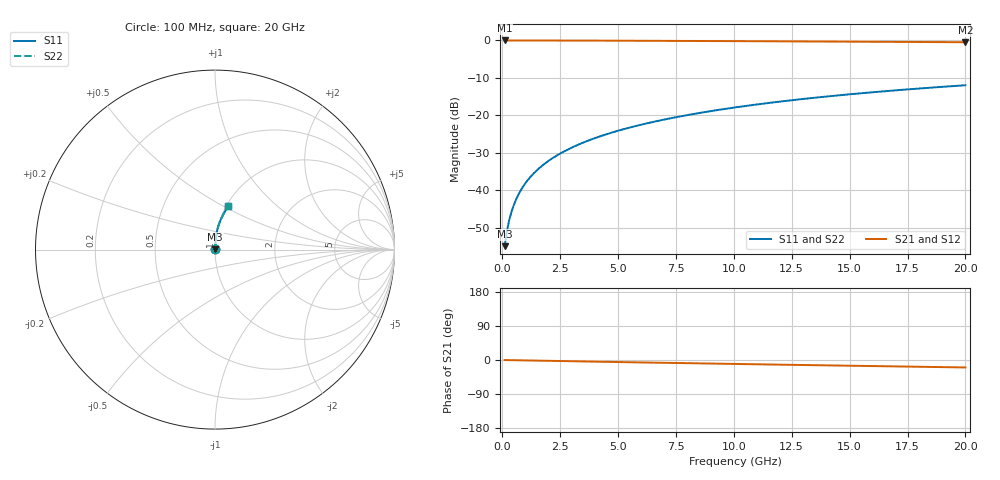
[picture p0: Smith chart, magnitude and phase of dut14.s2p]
! Touchstone file exported from HFSS 2024.1.0
!  File:  C:/UserFiles/LocalFiles/RDL_TSV_Batchsim/temp_RDL_top_14_1778679955.aedt
!  Generated:  09:48:09 PM May 13, 2026
!  Design:  RDL_top
!  Project:  temp_RDL_top_14_1778679955
!  Setup:  Setup1
!  Solution:  Sweep
! Variables:
!  dtsv = 10.80580581um
!  hbump = 3um
!  htsv = 50.58um
!  ldown = 100um
!  lrdl = 211.59um
!  p = 40
!  p1 = 57.17um
!  rhole = 1um
!  t = 450um
!  tdown = 3.915915916um
!  trdl = 4.32um
!  wdown = 15.38538539um
!  wrdl = 15.67um
# GHz S MA R 50.000000
! Terminal data exported
! Port[1] = Box2_T1
! Port[2] = Box2_T2
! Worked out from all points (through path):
!   200 points, 100 MHz to 20 GHz, reference 50 ohm
!   highest |S21| = -0.01 dB at 100 MHz (marker M1); lowest = -0.5 dB at 20 GHz (marker M2)
!   group delay of S21, straight-line fit = 2.72 ps
!   lowest |S11| = -55.0 dB at 100 MHz (marker M3), VSWR 1.00, Z = 50.1 + j0.128 ohm
!   |S11| at or under -10 dB: start of sweep to end of sweep
!   |S22| runs from -55.0 to -12.0 dB; largest |S21 - S12| = 2.7e-15
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0.1  0.001783 45.6  0.9987 -0.1  0.9987 -0.1  0.001783 45.6
! Gamma 0 0 0 0
! Port Impedance 50 0 50 0
0.2  0.002836 63.1  0.9987 -0.2  0.9987 -0.2  0.002836 63.1
0.3  0.003989 70.6  0.9987 -0.3  0.9987 -0.3  0.003989 70.6
0.4  0.005168 74.8  0.9986 -0.4  0.9986 -0.4  0.005168 74.8
0.5  0.006359 77.4  0.9985 -0.6  0.9985 -0.6  0.006359 77.4
0.7  0.008761 80.6  0.9984 -0.8  0.9984 -0.8  0.008761 80.6
0.8  0.009969 81.6  0.9984 -0.9  0.9984 -0.9  0.009969 81.6
1  0.01239 83.0  0.9983 -1.1  0.9983 -1.1  0.01239 83.0
1.2  0.01483 84.0  0.9981 -1.3  0.9981 -1.3  0.01483 84.0
1.4  0.01727 84.6  0.9979 -1.6  0.9979 -1.6  0.01727 84.6
1.7  0.02095 85.3  0.9977 -1.9  0.9977 -1.9  0.02095 85.3
2  0.02464 85.7  0.9973 -2.2  0.9973 -2.2  0.02464 85.7
2.7  0.03328 86.2  0.9963 -3.0  0.9963 -3.0  0.03328 86.2
3.5  0.04323 86.3  0.995 -3.8  0.995 -3.8  0.04323 86.3
4.2  0.05202 86.2  0.9936 -4.6  0.9936 -4.6  0.05202 86.2
5  0.06213 85.9  0.9918 -5.4  0.9918 -5.4  0.06213 85.9
6.8  0.08516 84.9  0.9873 -7.2  0.9873 -7.2  0.08517 84.9
8.3  0.1046 83.8  0.9833 -8.7  0.9833 -8.7  0.1046 83.8
10.1  0.1279 82.2  0.9782 -10.5  0.9782 -10.5  0.1279 82.2
13.4  0.1704 79.2  0.9682 -13.6  0.9682 -13.6  0.1704 79.2
16.7  0.2118 76.0  0.9574 -16.7  0.9574 -16.7  0.2118 76.0
20  0.2518 72.8  0.9457 -19.7  0.9457 -19.7  0.2518 72.8
